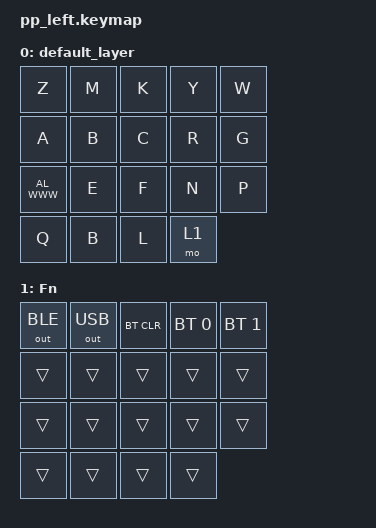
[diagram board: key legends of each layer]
#include <behaviors.dtsi>
#include <dt-bindings/zmk/bt.h>
#include <dt-bindings/zmk/keys.h>
#include <dt-bindings/zmk/outputs.h>

/ {
    combos {
        compatible = "zmk,combos";

        studio_unlock_combo {
            timeout-ms = <1000>;
            key-positions = <15 16>;
            bindings = <&studio_unlock>;
        };
    };

    keymap {
        compatible = "zmk,keymap";

        default_layer { // Layer 0
            bindings = <
                &kp Z    &kp M    &kp K    &kp Y    &kp W
                &kp A    &kp B    &kp C    &kp R    &kp G
                &kp C_AL_WWW    &kp E    &kp F    &kp N    &kp P
                &kp Q    &kp B    &kp L    &mo 1
            >;
        };

        fn_layer {
            display-name = "Fn";
            bindings = <
                &out OUT_BLE  &out OUT_USB  &bt BT_CLR  &bt BT_SEL 0  &bt BT_SEL 1
                &trans        &trans       &trans        &trans        &trans
                &trans        &trans       &trans        &trans        &trans
                &trans        &trans       &trans        &trans
            >;
        };

        extra1 {
            status = "reserved";
        };

        extra2 {
            status = "reserved";
        };
    };
 };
